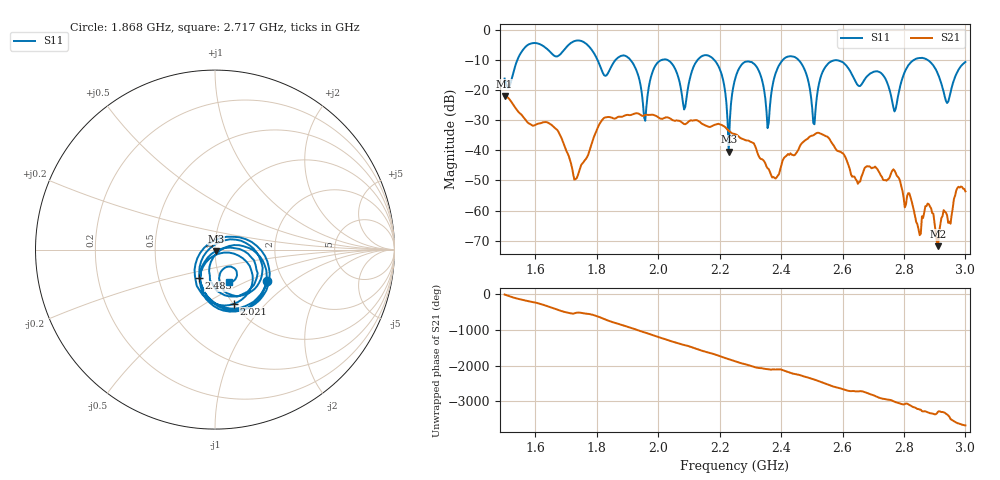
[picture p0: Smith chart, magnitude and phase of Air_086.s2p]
# HZ S RI R 50
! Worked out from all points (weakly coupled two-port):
!   404 points, 1.5 GHz to 3 GHz, reference 50 ohm
!   highest |S21| = -22.03 dB at 1.5 GHz (marker M1); lowest = -71.8 dB at 2.911 GHz (marker M2)
!   lowest |S11| = -40.5 dB at 2.23 GHz (marker M3), VSWR 1.02, Z = 50.5 - j0.79 ohm
!   |S11| at or under -10 dB: 2.182 GHz to 2.406 GHz (224.9 MHz wide, 9.8 % of centre); 2.456 GHz to 2.834 GHz (377.5 MHz wide, 14.3 % of centre); 2.875 GHz to end of sweep (the widest 3 of 7)
!   S12 and S22 are empty: the file has one direction only
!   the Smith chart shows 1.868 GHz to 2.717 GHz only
!   S11 on the Smith chart (normalised r, x): 1.868 GHz: 1.66, -0.66; 2.021 GHz: 1.00, -0.68; 2.483 GHz: 0.80, -0.26; 2.717 GHz: 1.09, -0.42
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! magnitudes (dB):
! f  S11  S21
! 1.5 GHz  -16.3  -22.0
! 1.578 GHz  -4.9  -31.1
! 1.753 GHz  -3.9  -44.4
! 1.868 GHz  -9.4  -29.0
! 1.958 GHz  -30.2  -28.3
! 2.002 GHz  -10.6  -29.3
! 2.021 GHz  -9.9  -29.3
! 2.084 GHz  -26.5  -31.3
! 2.177 GHz  -9.6  -31.9
! 2.23 GHz  -40.5  -33.5
! 2.252 GHz  -15.8  -34.7
! 2.315 GHz  -11.7  -38.5
! 2.356 GHz  -32.7  -46.0
! 2.378 GHz  -15.8  -49.1
! 2.483 GHz  -14.9  -36.4
! 2.501 GHz  -26.0  -35.2
! 2.561 GHz  -10.7  -36.8
! 2.717 GHz  -14.0  -47.0
! 2.751 GHz  -19.1  -49.5
! 2.911 GHz  -14.8  -71.8
! 2.94 GHz  -24.4  -61.6
! 3 GHz  -10.7  -53.6
